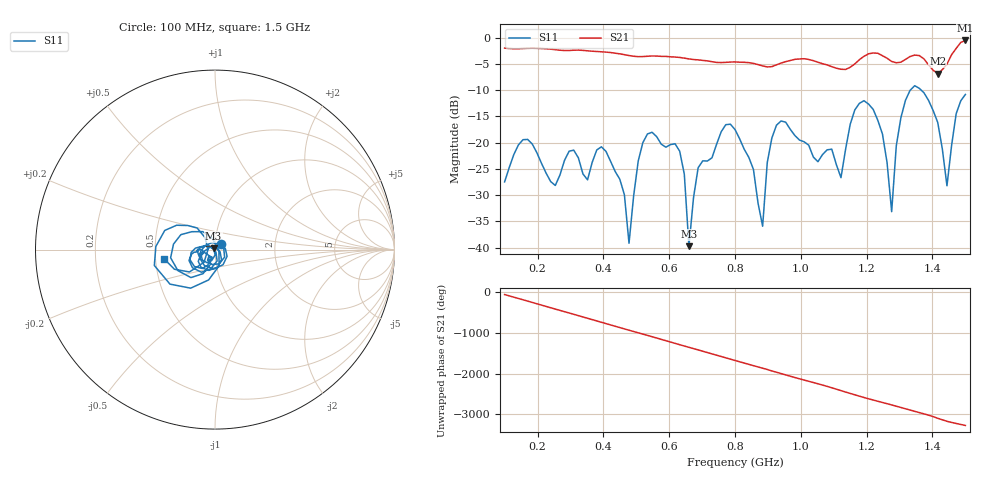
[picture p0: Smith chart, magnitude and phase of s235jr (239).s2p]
! NanoVNA-App
! Date: 2025-09-25 15:06:01
! Start: 100MHz Stop: 1,5GHz Points: 101
! S-Parameter data: F S11 S21 S12 S22
# Hz S RI R 50
!  Frequency  S11_Real  S11_Imag  S21_Real  S21_Imag  S12_Real  S12_Imag  S22_Real  S22_Imag
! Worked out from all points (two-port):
!   101 points, 100 MHz to 1.5 GHz, reference 50 ohm
!   highest |S21| = -0.50 dB at 1.5 GHz (marker M1); lowest = -6.8 dB at 1.416 GHz (marker M2)
!   |S21| within 3 dB of the highest: start of sweep to 490.9 MHz; 1.192 GHz to 1.251 GHz (58.09 MHz wide, 4.76 % of centre) (the widest 2 of 5)
!   lowest |S11| = -39.7 dB at 660 MHz (marker M3), VSWR 1.02, Z = 49.2 + j0.624 ohm
!   |S11| at or under -10 dB: start of sweep to 1.332 GHz; 1.366 GHz to end of sweep
!   S12 and S22 are empty: the file has one direction only
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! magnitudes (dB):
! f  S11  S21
! 100 MHz  -27.5  -2.0
! 156 MHz  -19.4  -2.0
! 338 MHz  -26.0  -2.4
! 408 MHz  -21.6  -2.7
! 478 MHz  -39.2  -3.4
! 520 MHz  -20.0  -3.6
! 576 MHz  -20.3  -3.5
! 632 MHz  -21.6  -3.7
! 660 MHz  -39.7  -4.0
! 688 MHz  -24.8  -4.2
! 800 MHz  -17.5  -4.6
! 884 MHz  -35.9  -5.4
! 926 MHz  -16.7  -5.1
! 1.038 GHz  -22.7  -4.4
! 1.122 GHz  -26.7  -6.0
! 1.192 GHz  -12.0  -3.5
! 1.248 GHz  -18.3  -3.4
! 1.276 GHz  -33.2  -4.5
! 1.332 GHz  -10.0  -3.6
! 1.416 GHz  -16.1  -6.8
! 1.444 GHz  -28.2  -5.0
! 1.5 GHz  -10.8  -0.5
